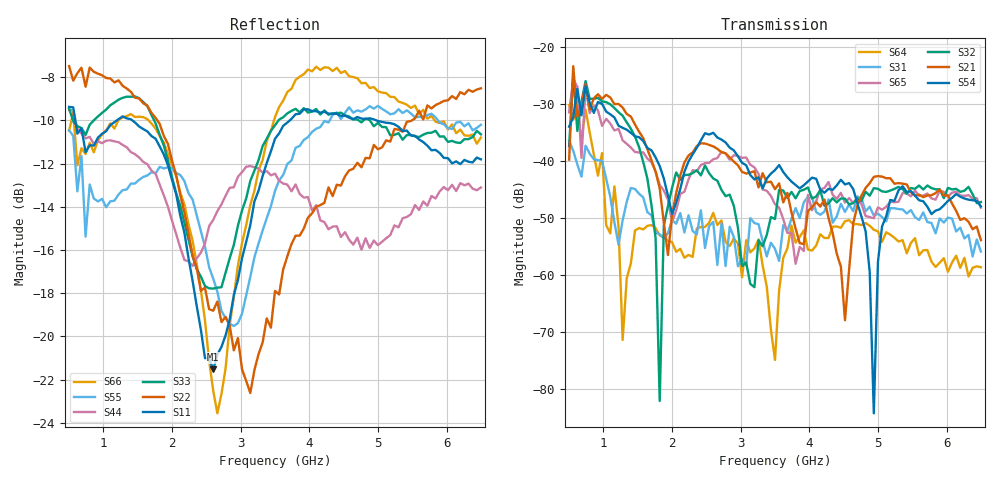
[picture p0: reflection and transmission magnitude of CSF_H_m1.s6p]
!Keysight Technologies,M9804A,MY58100912,A.14.10.03
!Date: Thursday, April 27, 2023 10:28:33
!Correction: S11(C  6-Port  )
!S12(C  6-Port  )
!S13(C  6-Port  )
!S14(C  6-Port  )
!S15(C  6-Port  )
!S16(C  6-Port  )
!S21(C  6-Port  )
!S22(C  6-Port  )
!S23(C  6-Port  )
!S24(C  6-Port  )
!S25(C  6-Port  )
!S26(C  6-Port  )
!S31(C  6-Port  )
!S32(C  6-Port  )
!S33(C  6-Port  )
!S34(C  6-Port  )
!S35(C  6-Port  )
!S36(C  6-Port  )
!S41(C  6-Port  )
!S42(C  6-Port  )
!S43(C  6-Port  )
!S44(C  6-Port  )
!S45(C  6-Port  )
!S46(C  6-Port  )
!S51(C  6-Port  )
!S52(C  6-Port  )
!S53(C  6-Port  )
!S54(C  6-Port  )
!S55(C  6-Port  )
!S56(C  6-Port  )
!S61(C  6-Port  )
!S62(C  6-Port  )
!S63(C  6-Port  )
!S64(C  6-Port  )
!S65(C  6-Port  )
!S66(C  6-Port  )
!S6P File: Measurement: :
# Hz S  RI  R 50
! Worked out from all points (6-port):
!   101 points, 500 MHz to 6.5 GHz, reference 50 ohm
!   strongest paths, dB at 500 MHz, 2 GHz, 3.5 GHz, 5 GHz, 6.5 GHz:
!     S54: -34.0, -49.3, -41.6, -57.7, -48.0
!     S21: -39.8, -49.5, -45.0, -42.7, -53.9
!     S32: -37.4, -44.7, -50.2, -44.9, -47.2
!     S65: -31.5, -50.8, -47.6, -48.2, -48.2
!     S31: -36.4, -50.4, -55.4, -49.3, -55.9
!     S64: -30.2, -54.3, -74.9, -52.3, -58.7
!   lowest |S11| = -21.5 dB at 2.6 GHz (marker M1), VSWR 1.18, Z = 42.5 + j2.15 ohm
!   |S11| at or under -10 dB: 589.5 MHz to 1.197 GHz (607.4 MHz wide, 68 % of centre); 1.42 GHz to 3.716 GHz (2.296 GHz wide, 89.4 % of centre); 4.974 GHz to end of sweep
